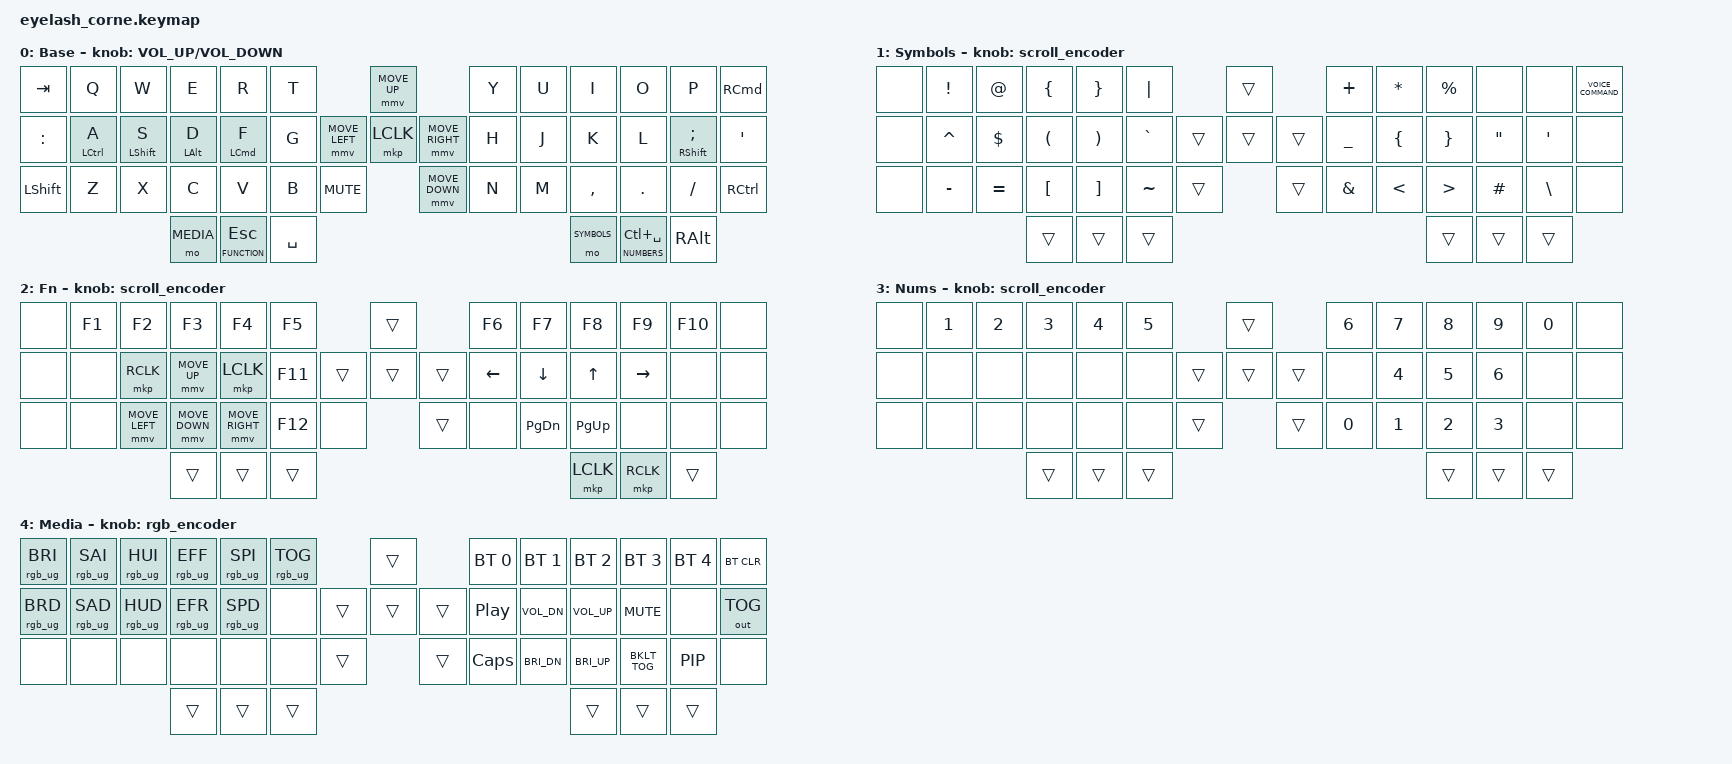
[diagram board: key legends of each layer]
#define ZMK_POINTING_DEFAULT_MOVE_VAL 1200  // 600
#define ZMK_POINTING_DEFAULT_SCRL_VAL 25   // 10

#include <input/processors.dtsi>
#include <zephyr/dt-bindings/input/input-event-codes.h>
#include <behaviors.dtsi>
#include <dt-bindings/zmk/bt.h>
#include <dt-bindings/zmk/keys.h>
#include <dt-bindings/zmk/outputs.h>
#include <dt-bindings/zmk/pointing.h>
#include <dt-bindings/zmk/rgb.h>

#define BASE 0
#define SYMBOLS 1
#define FUNCTION 2
#define NUMBERS 3
#define MEDIA 4

&mt {
        tapping-term-ms = <300>;
};

&mmv_input_listener { input-processors = <&zip_xy_scaler 2 1>; };

&msc_input_listener { input-processors = <&zip_scroll_scaler 2 1>; };

&msc {
    acceleration-exponent = <1>;      // 0
    time-to-max-speed-ms = <100>;       // 300
    delay-ms = <0>;                   // 0
};

&mmv {
    time-to-max-speed-ms = <500>;
    acceleration-exponent = <1>;
    trigger-period-ms = <16>;
};

&soft_off { hold-time-ms = <1500>; };

/ {
    behaviors {
        qt: mod_tap {
            compatible = "zmk,behavior-hold-tap";
            #binding-cells = <2>;
            flavor = "tap-preferred";
            tapping-term-ms = <250>;
            quick-tap-ms = <200>;
            bindings = <&kp>, <&kp>;
            display-name = "Mod-Tap";
        };
    };

    rgb_encoder: rgb_encoder {
        compatible = "zmk,behavior-sensor-rotate";
        #sensor-binding-cells = <0>;
        bindings = <&rgb_ug RGB_BRI>, <&rgb_ug RGB_BRD>;
    };

    scroll_encoder: scroll_encoder {
        compatible = "zmk,behavior-sensor-rotate";
        #sensor-binding-cells = <0>;
        bindings = <&msc SCRL_DOWN>, <&msc SCRL_UP>;

        tap-ms = <100>;
    };

    combos {
        compatible = "zmk,combos";

        combo_del {
            timeout-ms = <50>;
            key-positions = <24 25>;
            bindings = <&kp DEL>;
            layers = <0>;
        };
        combo_bksp {
            timeout-ms = <50>;
            key-positions = <23 24>;
            bindings = <&kp BSPC>;
            layers = <0>;
        };
        combo_tab {
            timeout-ms = <50>;
            key-positions = <31 32>;
            bindings = <&kp TAB>;
            layers = <0>;
        };
        combo_ret {
            timeout-ms = <50>;
            key-positions = <37 38>;
            bindings = <&kp RET>;
            layers = <0>;
        };

        softoff {
            bindings = <&soft_off>;
            key-positions = <1 2>;
            layers = <0>;
        };
    };

    keymap {
        compatible = "zmk,keymap";

        default_layer {
            display-name = "Base";
            bindings = <
&kp TAB    &kp Q        &kp W        &kp E       &kp R       &kp T                      &mmv MOVE_UP                   &kp Y  &kp U  &kp I      &kp O    &kp P           &kp RCMD
&kp COLON  &qt LCTRL A  &qt LSHFT S  &qt LALT D  &qt LCMD F  &kp G       &mmv MOVE_LEFT &mkp LCLK      &mmv MOVE_RIGHT &kp H  &kp J  &kp K      &kp L    &qt RSHFT SEMI  &kp SQT
&kp LSHFT  &kp Z  &kp X &kp C        &kp V       &kp B       &kp C_MUTE                 &mmv MOVE_DOWN                 &kp N  &kp M  &kp COMMA  &kp DOT  &kp FSLH        &kp RCTRL
                                     &mo MEDIA   &lt FUNCTION ESC   &kp SPACE                                          &mo SYMBOLS &lt NUMBERS LC(SPACE) &kp RALT
            >;

             sensor-bindings = <&inc_dec_kp C_VOLUME_UP C_VOLUME_DOWN>;
        };


        symbol {
            display-name = "Symbols";
            bindings = <
&none &kp EXCL   &kp AT     &kp LBRC  &kp RBRC  &kp PIPE                 &trans          &kp PLUS  &kp STAR   &kp PRCNT  &none     &none     &kp C_VOICE_COMMAND
&none &kp CARET  &kp DLLR   &kp LPAR  &kp RPAR  &kp GRAVE        &trans  &trans  &trans  &kp UNDER &kp LBRC   &kp RBRC   &kp DQT   &kp SQT   &none
&none &kp MINUS  &kp EQUAL  &kp LBKT  &kp RBKT  &kp TILDE  &trans        &trans          &kp AMPS  &kp LT     &kp GT     &kp HASH  &kp BSLH  &none
                                    &trans      &trans     &trans                        &trans     &trans     &trans
            >;

            sensor-bindings = <&scroll_encoder>;
        };

        function {
            display-name = "Fn";
            bindings = <
&none &kp F1 &kp F2         &kp F3         &kp F4          &kp F5                  &trans          &kp F6   &kp F7     &kp F8     &kp F9     &kp F10 &none
&none &none  &mkp RCLK      &mmv MOVE_UP   &mkp LCLK       &kp F11          &trans &trans  &trans  &kp LEFT &kp DOWN   &kp UP     &kp RIGHT  &none   &none
&none &none  &mmv MOVE_LEFT &mmv MOVE_DOWN &mmv MOVE_RIGHT &kp F12  &none          &trans          &none    &kp PG_DN  &kp PG_UP  &none      &none   &none
                    &trans &trans &trans                                   &mkp LCLK &mkp RCLK &trans
            >;

            sensor-bindings = <&scroll_encoder>;
        };

        number {
            display-name = "Nums";
            bindings = <
&none &kp N1  &kp N2  &kp N3  &kp N4  &kp N5              &trans         &kp N6   &kp N7    &kp N8  &kp N9     &kp N0   &none
&none &none   &none   &none   &none   &none       &trans  &trans &trans  &none    &kp N4    &kp N5  &kp N6     &none    &none
&none &none   &none   &none   &none   &none   &trans      &trans         &kp N0   &kp N1    &kp N2  &kp N3     &none    &none
                      &trans  &trans  &trans                             &trans   &trans    &trans 
            >;

            sensor-bindings = <&scroll_encoder>;
        };

        media {
            display-name = "Media";
            bindings = <
&rgb_ug RGB_BRI &rgb_ug RGB_SAI &rgb_ug RGB_HUI &rgb_ug RGB_EFF &rgb_ug RGB_SPI &rgb_ug RGB_TOG                 &trans         &bt BT_SEL 0 &bt BT_SEL 1 &bt BT_SEL 2 &bt BT_SEL 3   &bt BT_SEL 4 &bt BT_CLR
&rgb_ug RGB_BRD &rgb_ug RGB_SAD &rgb_ug RGB_HUD &rgb_ug RGB_EFR &rgb_ug RGB_SPD &none                   &trans  &trans &trans  &kp C_PP     &kp C_VOL_DN &kp C_VOL_UP &kp C_MUTE     &none        &out OUT_TOG
&none           &none           &none           &none           &none           &none      &trans               &trans         &kp CAPS     &kp C_BRI_DN &kp C_BRI_UP &kp C_BKLT_TOG &kp C_PIP    &none
                                                &trans          &trans          &trans                                         &trans          &trans          &trans 
            >;

            sensor-bindings = <&rgb_encoder>;
        };
    };
};
